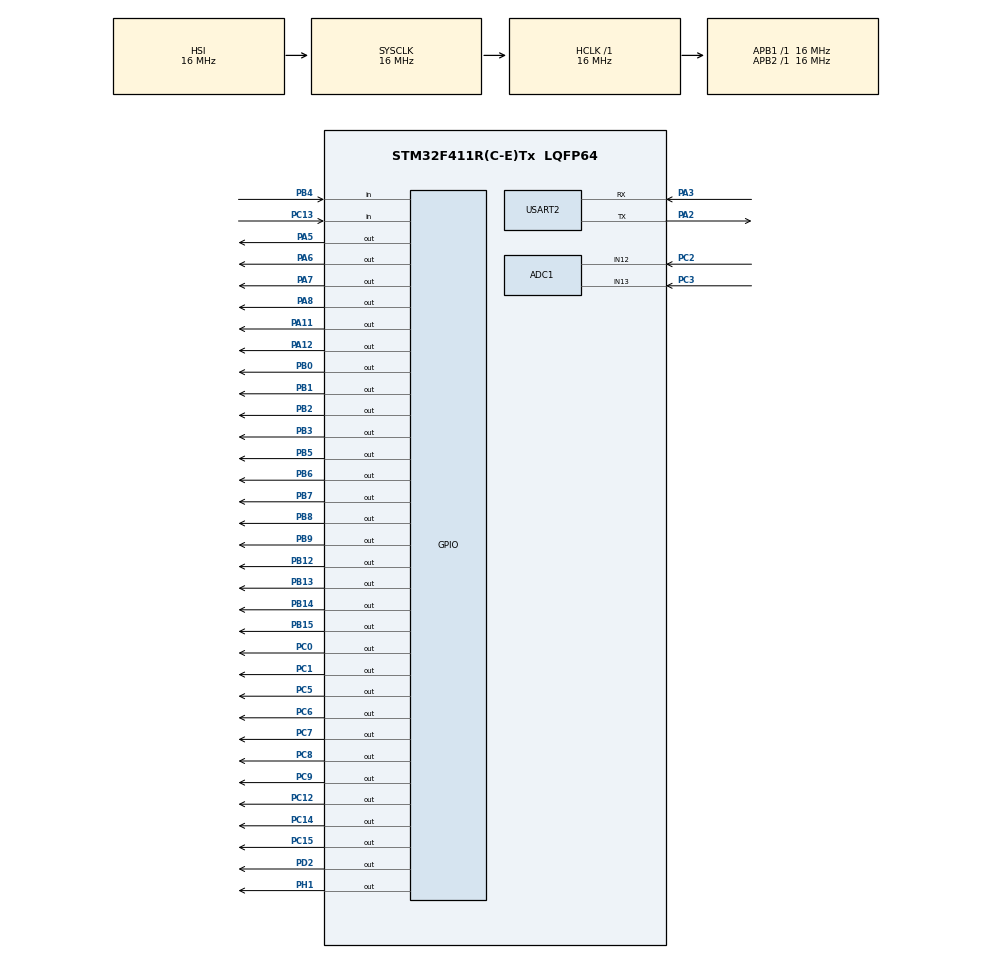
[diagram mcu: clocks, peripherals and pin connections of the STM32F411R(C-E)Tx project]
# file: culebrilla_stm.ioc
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ADC1.Channel-3\#ChannelRegularConversion=ADC_CHANNEL_12
ADC1.Channel-4\#ChannelRegularConversion=ADC_CHANNEL_13
ADC1.ContinuousConvMode=ENABLE
ADC1.NbrOfConversion=2
ADC1.NbrOfConversionFlag=1
ADC1.Rank-3\#ChannelRegularConversion=1
ADC1.Rank-4\#ChannelRegularConversion=2
ADC1.SamplingTime-3\#ChannelRegularConversion=ADC_SAMPLETIME_480CYCLES
ADC1.SamplingTime-4\#ChannelRegularConversion=ADC_SAMPLETIME_480CYCLES
ADC1.ScanConvMode=ENABLE
ADC1.master=1
FREERTOS.Mutexes01=dir,Dynamic,NULL
FREERTOS.Queues01=cola_juego,1,valores_t,0,Dynamic,NULL,NULL
FREERTOS.Tasks01=pulsador,40,128,start_pulsador,Default,NULL,Dynamic,NULL,NULL;juego,24,512,start_juego,Default,NULL,Dynamic,NULL,NULL;uart,42,256,start_uart,Default,NULL,Dynamic,NULL,NULL;uart_rec,46,256,start_uart_rec,Default,NULL,Dynamic,NULL,NULL;display,39,256,start_display,Default,NULL,Dynamic,NULL,NULL;board,32,256,start_board,Default,NULL,Dynamic,NULL,NULL
Mcu.Family=STM32F4
Mcu.Name=STM32F411R(C-E)Tx
Mcu.Package=LQFP64
NVIC.ADC_IRQn=true\:5\:0\:false\:false\:true\:true\:true\:true\:true
NVIC.PriorityGroup=NVIC_PRIORITYGROUP_4
NVIC.USART2_IRQn=true\:5\:0\:false\:false\:true\:true\:true\:true\:true
PA11.Signal=GPIO_Output
PA12.Signal=GPIO_Output
PA2.Mode=Asynchronous
PA2.Signal=USART2_TX
PA3.Mode=Asynchronous
PA3.Signal=USART2_RX
PA5.Signal=GPIO_Output
PA6.Signal=GPIO_Output
PA7.Signal=GPIO_Output
PA8.Signal=GPIO_Output
PB0.Signal=GPIO_Output
PB1.Signal=GPIO_Output
PB12.Signal=GPIO_Output
PB13.Signal=GPIO_Output
PB14.Signal=GPIO_Output
PB15.Signal=GPIO_Output
PB2.Signal=GPIO_Output
PB3.Signal=GPIO_Output
PB4.Signal=GPIO_Input
PB5.Signal=GPIO_Output
PB6.Signal=GPIO_Output
PB7.Signal=GPIO_Output
PB8.Signal=GPIO_Output
PB9.Signal=GPIO_Output
PC0.Signal=GPIO_Output
PC1.Signal=GPIO_Output
PC12.Signal=GPIO_Output
PC13-ANTI_TAMP.Signal=GPIO_Input
PC14-OSC32_IN.Signal=GPIO_Output
PC15-OSC32_OUT.Signal=GPIO_Output
PC2.Signal=ADCx_IN12
PC3.Signal=ADCx_IN13
PC5.Signal=GPIO_Output
PC6.Signal=GPIO_Output
PC7.Signal=GPIO_Output
PC8.Signal=GPIO_Output
PC9.Signal=GPIO_Output
PD2.Signal=GPIO_Output
PH1\ -\ OSC_OUT.Signal=GPIO_Output
ProjectManager.HeapSize=0x200
ProjectManager.StackSize=0x400
ProjectManager.TargetToolchain=STM32CubeIDE
RCC.AHBFreq_Value=16000000
RCC.APB1Freq_Value=16000000
RCC.APB2Freq_Value=16000000
RCC.CortexFreq_Value=16000000
RCC.HSE_VALUE=25000000
RCC.HSI_VALUE=16000000
RCC.LSE_VALUE=32768
RCC.SYSCLKFreq_VALUE=16000000
RCC.VCOOutputFreq_Value=192000000
SH.ADCx_IN12.0=ADC1_IN12,IN12
SH.ADCx_IN13.0=ADC1_IN13,IN13
USART2.VirtualMode=VM_ASYNC
VP_FREERTOS_VS_CMSIS_V2.Mode=CMSIS_V2
board=custom

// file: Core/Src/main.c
/* USER CODE BEGIN Header */
/**
 ******************************************************************************
 * @file           : main.c
 * @brief          : Main program body
 ******************************************************************************
 * @attention
 *
 * Copyright (c) 2023 STMicroelectronics.
 * All rights reserved.
 *
 * This software is licensed under terms that can be found in the LICENSE file
 * in the root directory of this software component.
 * If no LICENSE file comes with this software, it is provided AS-IS.
 *
 ******************************************************************************
 */
/* USER CODE END Header */
#include "main.h"
#include "cmsis_os.h"

/* USER CODE BEGIN Includes */
#include "../Inc/culebrilla.h"
#include <stdlib.h>
#include <stdio.h>
/* USER CODE END Includes */

ADC_HandleTypeDef hadc1;

UART_HandleTypeDef huart2;

/* Definitions for pulsador */
osThreadId_t pulsadorHandle;
const osThreadAttr_t pulsador_attributes = {
  .name = "pulsador",
  .stack_size = 128 * 4,
  .priority = (osPriority_t) osPriorityHigh,
};
/* Definitions for juego */
osThreadId_t juegoHandle;
const osThreadAttr_t juego_attributes = {
  .name = "juego",
  .stack_size = 512 * 4,
  .priority = (osPriority_t) osPriorityNormal,
};
/* Definitions for uart */
osThreadId_t uartHandle;
const osThreadAttr_t uart_attributes = {
  .name = "uart",
  .stack_size = 256 * 4,
  .priority = (osPriority_t) osPriorityHigh2,
};
/* Definitions for uart_rec */
osThreadId_t uart_recHandle;
const osThreadAttr_t uart_rec_attributes = {
  .name = "uart_rec",
  .stack_size = 256 * 4,
  .priority = (osPriority_t) osPriorityHigh6,
};
/* Definitions for display */
osThreadId_t displayHandle;
const osThreadAttr_t display_attributes = {
  .name = "display",
  .stack_size = 256 * 4,
  .priority = (osPriority_t) osPriorityAboveNormal7,
};
/* Definitions for board */
osThreadId_t boardHandle;
const osThreadAttr_t board_attributes = {
  .name = "board",
  .stack_size = 256 * 4,
  .priority = (osPriority_t) osPriorityAboveNormal,
};
/* Definitions for cola_juego */
osMessageQueueId_t cola_juegoHandle;
const osMessageQueueAttr_t cola_juego_attributes = {
  .name = "cola_juego"
};
/* Definitions for dir */
osMutexId_t dirHandle;
const osMutexAttr_t dir_attributes = {
  .name = "dir"
};
/* USER CODE BEGIN PV */
uint8_t state = 0; //El estado en el que se encuentra el  siendo 0= Inicio,1= En marcha,2= Pause,3= Finalizado,
uint8_t mode = 0;
typedef struct valores {
	uint32_t eje[2]; //Eje X=0 Y=1 Podriamos cambiarle el tamaño
	uint32_t joy[2];
	uint32_t puntos;
} valores_t;
//char buff[2];
uint8_t buff[2];
int dir;
/* USER CODE END PV */

void SystemClock_Config(void);
static void MX_GPIO_Init(void);
static void MX_USART2_UART_Init(void);
static void MX_ADC1_Init(void);
void start_pulsador(void *argument);
void start_juego(void *argument);
void start_uart(void *argument);
void start_uart_rec(void *argument);
void start_display(void *argument);
void start_board(void *argument);

int main(void)
{

  /* MCU Configuration--------------------------------------------------------*/

  /* Reset of all peripherals, Initializes the Flash interface and the Systick. */
  HAL_Init();

  /* Configure the system clock */
  SystemClock_Config();

  /* Initialize all configured peripherals */
  MX_GPIO_Init();
  MX_USART2_UART_Init();
  MX_ADC1_Init();

  /* Init scheduler */
  osKernelInitialize();
  /* Create the mutex(es) */
  /* creation of dir */
  dirHandle = osMutexNew(&dir_attributes);

  /* Create the queue(s) */
  /* creation of cola_juego */
  cola_juegoHandle = osMessageQueueNew (1, sizeof(valores_t), &cola_juego_attributes);

  /* Create the thread(s) */
  /* creation of pulsador */
  pulsadorHandle = osThreadNew(start_pulsador, NULL, &pulsador_attributes);

  /* creation of juego */
  juegoHandle = osThreadNew(start_juego, NULL, &juego_attributes);

  /* creation of uart */
  uartHandle = osThreadNew(start_uart, NULL, &uart_attributes);

  /* creation of uart_rec */
  uart_recHandle = osThreadNew(start_uart_rec, NULL, &uart_rec_attributes);

  /* creation of display */
  displayHandle = osThreadNew(start_display, NULL, &display_attributes);

  /* creation of board */
  boardHandle = osThreadNew(start_board, NULL, &board_attributes);

  /* Start scheduler */
  osKernelStart();

  /* We should never get here as control is now taken by the scheduler */
  /* Infinite loop */
	while (1) {

	}
}

void SystemClock_Config(void)
{
  RCC_OscInitTypeDef RCC_OscInitStruct = {0};
  RCC_ClkInitTypeDef RCC_ClkInitStruct = {0};

  /** Configure the main internal regulator output voltage
  */
  __HAL_RCC_PWR_CLK_ENABLE();
  __HAL_PWR_VOLTAGESCALING_CONFIG(PWR_REGULATOR_VOLTAGE_SCALE1);

  /** Initializes the RCC Oscillators according to the specified parameters
  * in the RCC_OscInitTypeDef structure.
  */
  RCC_OscInitStruct.OscillatorType = RCC_OSCILLATORTYPE_HSI;
  RCC_OscInitStruct.HSIState = RCC_HSI_ON;
  RCC_OscInitStruct.HSICalibrationValue = RCC_HSICALIBRATION_DEFAULT;
  RCC_OscInitStruct.PLL.PLLState = RCC_PLL_NONE;
  if (HAL_RCC_OscConfig(&RCC_OscInitStruct) != HAL_OK)
  {
    Error_Handler();
  }

  /** Initializes the CPU, AHB and APB buses clocks
  */
  RCC_ClkInitStruct.ClockType = RCC_CLOCKTYPE_HCLK|RCC_CLOCKTYPE_SYSCLK
                              |RCC_CLOCKTYPE_PCLK1|RCC_CLOCKTYPE_PCLK2;
  RCC_ClkInitStruct.SYSCLKSource = RCC_SYSCLKSOURCE_HSI;
  RCC_ClkInitStruct.AHBCLKDivider = RCC_SYSCLK_DIV1;
  RCC_ClkInitStruct.APB1CLKDivider = RCC_HCLK_DIV1;
  RCC_ClkInitStruct.APB2CLKDivider = RCC_HCLK_DIV1;

  if (HAL_RCC_ClockConfig(&RCC_ClkInitStruct, FLASH_LATENCY_0) != HAL_OK)
  {
    Error_Handler();
  }
}

static void MX_ADC1_Init(void)
{

  ADC_ChannelConfTypeDef sConfig = {0};

  /** Configure the global features of the ADC (Clock, Resolution, Data Alignment and number of conversion)
  */
  hadc1.Instance = ADC1;
  hadc1.Init.ClockPrescaler = ADC_CLOCK_SYNC_PCLK_DIV2;
  hadc1.Init.Resolution = ADC_RESOLUTION_12B;
  hadc1.Init.ScanConvMode = ENABLE;
  hadc1.Init.ContinuousConvMode = ENABLE;
  hadc1.Init.DiscontinuousConvMode = DISABLE;
  hadc1.Init.ExternalTrigConvEdge = ADC_EXTERNALTRIGCONVEDGE_NONE;
  hadc1.Init.ExternalTrigConv = ADC_SOFTWARE_START;
  hadc1.Init.DataAlign = ADC_DATAALIGN_RIGHT;
  hadc1.Init.NbrOfConversion = 2;
  hadc1.Init.DMAContinuousRequests = DISABLE;
  hadc1.Init.EOCSelection = ADC_EOC_SINGLE_CONV;
  if (HAL_ADC_Init(&hadc1) != HAL_OK)
  {
    Error_Handler();
  }

  /** Configure for the selected ADC regular channel its corresponding rank in the sequencer and its sample time.
  */
  sConfig.Channel = ADC_CHANNEL_12;
  sConfig.Rank = 1;
  sConfig.SamplingTime = ADC_SAMPLETIME_480CYCLES;
  if (HAL_ADC_ConfigChannel(&hadc1, &sConfig) != HAL_OK)
  {
    Error_Handler();
  }

  /** Configure for the selected ADC regular channel its corresponding rank in the sequencer and its sample time.
  */
  sConfig.Channel = ADC_CHANNEL_13;
  sConfig.Rank = 2;
  if (HAL_ADC_ConfigChannel(&hadc1, &sConfig) != HAL_OK)
  {
    Error_Handler();
  }

}

static void MX_USART2_UART_Init(void)
{

  huart2.Instance = USART2;
  huart2.Init.BaudRate = 115200;
  huart2.Init.WordLength = UART_WORDLENGTH_8B;
  huart2.Init.StopBits = UART_STOPBITS_1;
  huart2.Init.Parity = UART_PARITY_NONE;
  huart2.Init.Mode = UART_MODE_TX_RX;
  huart2.Init.HwFlowCtl = UART_HWCONTROL_NONE;
  huart2.Init.OverSampling = UART_OVERSAMPLING_16;
  if (HAL_UART_Init(&huart2) != HAL_OK)
  {
    Error_Handler();
  }

}

static void MX_GPIO_Init(void)
{
  GPIO_InitTypeDef GPIO_InitStruct = {0};

  /* GPIO Ports Clock Enable */
  __HAL_RCC_GPIOC_CLK_ENABLE();
  __HAL_RCC_GPIOH_CLK_ENABLE();
  __HAL_RCC_GPIOA_CLK_ENABLE();
  __HAL_RCC_GPIOB_CLK_ENABLE();
  __HAL_RCC_GPIOD_CLK_ENABLE();

  /*Configure GPIO pin Output Level */
  HAL_GPIO_WritePin(GPIOC, GPIO_PIN_14|GPIO_PIN_15|GPIO_PIN_0|GPIO_PIN_1
                          |GPIO_PIN_5|GPIO_PIN_6|GPIO_PIN_7|GPIO_PIN_8
                          |GPIO_PIN_9|GPIO_PIN_12, GPIO_PIN_RESET);

  /*Configure GPIO pin Output Level */
  HAL_GPIO_WritePin(GPIOH, GPIO_PIN_1, GPIO_PIN_RESET);

  /*Configure GPIO pin Output Level */
  HAL_GPIO_WritePin(GPIOA, GPIO_PIN_5|GPIO_PIN_6|GPIO_PIN_7|GPIO_PIN_8
                          |GPIO_PIN_11|GPIO_PIN_12, GPIO_PIN_RESET);

  /*Configure GPIO pin Output Level */
  HAL_GPIO_WritePin(GPIOB, GPIO_PIN_0|GPIO_PIN_1|GPIO_PIN_2|GPIO_PIN_12
                          |GPIO_PIN_13|GPIO_PIN_14|GPIO_PIN_15|GPIO_PIN_3
                          |GPIO_PIN_5|GPIO_PIN_6|GPIO_PIN_7|GPIO_PIN_8
                          |GPIO_PIN_9, GPIO_PIN_RESET);

  /*Configure GPIO pin Output Level */
  HAL_GPIO_WritePin(GPIOD, GPIO_PIN_2, GPIO_PIN_RESET);

  /*Configure GPIO pin : PC13 */
  GPIO_InitStruct.Pin = GPIO_PIN_13;
  GPIO_InitStruct.Mode = GPIO_MODE_INPUT;
  GPIO_InitStruct.Pull = GPIO_NOPULL;
  HAL_GPIO_Init(GPIOC, &GPIO_InitStruct);

  /*Configure GPIO pins : PC14 PC15 PC0 PC1
                           PC5 PC6 PC7 PC8
                           PC9 PC12 */
  GPIO_InitStruct.Pin = GPIO_PIN_14|GPIO_PIN_15|GPIO_PIN_0|GPIO_PIN_1
                          |GPIO_PIN_5|GPIO_PIN_6|GPIO_PIN_7|GPIO_PIN_8
                          |GPIO_PIN_9|GPIO_PIN_12;
  GPIO_InitStruct.Mode = GPIO_MODE_OUTPUT_PP;
  GPIO_InitStruct.Pull = GPIO_NOPULL;
  GPIO_InitStruct.Speed = GPIO_SPEED_FREQ_LOW;
  HAL_GPIO_Init(GPIOC, &GPIO_InitStruct);

  /*Configure GPIO pin : PH1 */
  GPIO_InitStruct.Pin = GPIO_PIN_1;
  GPIO_InitStruct.Mode = GPIO_MODE_OUTPUT_PP;
  GPIO_InitStruct.Pull = GPIO_NOPULL;
  GPIO_InitStruct.Speed = GPIO_SPEED_FREQ_LOW;
  HAL_GPIO_Init(GPIOH, &GPIO_InitStruct);

  /*Configure GPIO pins : PA5 PA6 PA7 PA8
                           PA11 PA12 */
  GPIO_InitStruct.Pin = GPIO_PIN_5|GPIO_PIN_6|GPIO_PIN_7|GPIO_PIN_8
                          |GPIO_PIN_11|GPIO_PIN_12;
  GPIO_InitStruct.Mode = GPIO_MODE_OUTPUT_PP;
  GPIO_InitStruct.Pull = GPIO_NOPULL;
  GPIO_InitStruct.Speed = GPIO_SPEED_FREQ_LOW;
  HAL_GPIO_Init(GPIOA, &GPIO_InitStruct);

  /*Configure GPIO pins : PB0 PB1 PB2 PB12
                           PB13 PB14 PB15 PB3
                           PB5 PB6 PB7 PB8
                           PB9 */
  GPIO_InitStruct.Pin = GPIO_PIN_0|GPIO_PIN_1|GPIO_PIN_2|GPIO_PIN_12
                          |GPIO_PIN_13|GPIO_PIN_14|GPIO_PIN_15|GPIO_PIN_3
                          |GPIO_PIN_5|GPIO_PIN_6|GPIO_PIN_7|GPIO_PIN_8
                          |GPIO_PIN_9;
  GPIO_InitStruct.Mode = GPIO_MODE_OUTPUT_PP;
  GPIO_InitStruct.Pull = GPIO_NOPULL;
  GPIO_InitStruct.Speed = GPIO_SPEED_FREQ_LOW;
  HAL_GPIO_Init(GPIOB, &GPIO_InitStruct);

  /*Configure GPIO pin : PD2 */
  GPIO_InitStruct.Pin = GPIO_PIN_2;
  GPIO_InitStruct.Mode = GPIO_MODE_OUTPUT_PP;
  GPIO_InitStruct.Pull = GPIO_NOPULL;
  GPIO_InitStruct.Speed = GPIO_SPEED_FREQ_LOW;
  HAL_GPIO_Init(GPIOD, &GPIO_InitStruct);

  /*Configure GPIO pin : PB4 */
  GPIO_InitStruct.Pin = GPIO_PIN_4;
  GPIO_InitStruct.Mode = GPIO_MODE_INPUT;
  GPIO_InitStruct.Pull = GPIO_NOPULL;
  HAL_GPIO_Init(GPIOB, &GPIO_InitStruct);

}

/* USER CODE BEGIN 4 */
void HAL_UART_RxCpltCallback(UART_HandleTypeDef *huart) {
	HAL_UART_Receive_IT(huart, buff, sizeof(buff));
	if (mode == TECLAS) {
		switch (buff[0]) {
		case 'r':
			osMutexAcquire(dirHandle, 10000);
			change_direction(&dir, R);
			osMutexRelease(dirHandle);

			break;
		case 'd':
			osMutexAcquire(dirHandle, 10000);
			change_direction(&dir, D);
			osMutexRelease(dirHandle);
			break;
		case 'l':
			osMutexAcquire(dirHandle, 10000);
			change_direction(&dir, L);
			osMutexRelease(dirHandle);
			break;
		case 'u':
			osMutexAcquire(dirHandle, 10000);
			change_direction(&dir, U);
			osMutexRelease(dirHandle);
			break;
		}
	}
}

uint8_t leer_pulsador(int pul) {

		return HAL_GPIO_ReadPin(GPIOC, GPIO_PIN_13);

}
/* USER CODE END 4 */

void start_pulsador(void *argument)
{
  /* USER CODE BEGIN 5 */
	/* Infinite loop */
	for (;;) {

		if (leer_pulsador(0) == 0) {
			switch (state) {
			case START:
				state = PLAY;
				break;
			case PLAY:
				state = PAUSA;
				break;
			case PAUSA:
				state = PLAY;
				break;
			}
		}

		osDelay(10);
	}
  /* USER CODE END 5 */
}

void start_juego(void *argument)
{
  /* USER CODE BEGIN start_juego */
	/* Infinite loop */

	valores_t datos_juego;
	//valores_t datos_joy;
	//osStatus_t status;

	coord_t s_pos;

	snake_t snake;
	food_t food;

	for (;;) {

		// para empezar en una direccion
		osMutexAcquire(dirHandle, 10000);
		dir = R;
		osMutexRelease(dirHandle);

		srand(0);

		startup_board();						//Pone la matriz apagada
		snake = spawn_snake();			//aparece el cuerpo de la serpiente

		food.pos = snake.body[0]; // para evitar un bug de spawn_food

		spawn_food(&food, &snake); //Aparecer comida en la matriz aleatoriamente

		while (state != PLAY) {
			osDelay(10);
		}

		while (snake.die == 0) { //Hasta que la serpiente muera estaremos en el while

			//TODO: pensar mas elegante
			s_pos = snake.body[snake.length - 1]; //Se coje la posicion inicial de la serpiente
			leds_off(s_pos.x, s_pos.y); //Se apaga la posicion de la posicion en la que estaba el cuerpo de la serpiente
			move_snake(&snake, dir); // Se mueve el cuerpo eliminado anteriormente a la siguiente posicion en la direccion establecida

			eat(&snake, &food); //Mas o menos entendido, sirve para vigilar si ha comido la fruta

			if (food.eaten == 1) {
				spawn_food(&food, &snake);
			}

			update_board(&snake, &food); //Para mostrar el cuerpo y comida dela serpiente en la matiz
			//sleep(1);
			datos_juego.eje[0] = snake.body[0].x;
			datos_juego.eje[1] = snake.body[0].y;
			datos_juego.joy[0] = 0;
			datos_juego.joy[1] = 0;
			datos_juego.puntos = snake.length;
			osMessageQueuePut(cola_juegoHandle, &datos_juego, 0U, 0U);

			while (state == PAUSA) {
				osDelay(10);
			}

			osDelay(SPEED);
		}
		state = PAUSA;
		osDelay(100);
	}

	//}
  /* USER CODE END start_juego */
}

void start_uart(void *argument)
{
  /* USER CODE BEGIN start_uart */
	/* Infinite loop */
	valores_t datos;
	osStatus_t status;
	uint8_t msg[] = "400,8,5,1";
	uint32_t x, y, puntos;
	int m;
	for (;;) {
		status = osMessageQueueGet(cola_juegoHandle, &datos, 0U, 0U);
		if (status == osOK) {
			x = datos.eje[0];
			y = datos.eje[1];
			puntos = datos.puntos;
			m = mode;
		}
			sprintf(msg, "%lu,%lu,%lu,%d", puntos - 1, x,
					y, m);
			HAL_UART_Transmit_IT(&huart2, msg, sizeof(msg));
		osDelay(20);
	}
  /* USER CODE END start_uart */
}

void start_uart_rec(void *argument)
{
  /* USER CODE BEGIN start_uart_rec */
	/* Infinite loop */
	for (;;) {
		HAL_UART_Receive_IT(&huart2, buff, sizeof(buff));
		osDelay(1);
	}
  /* USER CODE END start_uart_rec */
}

void start_display(void *argument)
{
  /* USER CODE BEGIN start_display */
	/* Infinite loop */
	int score;
	osStatus_t status;
	valores_t datos;
	for (;;) {
		status = osMessageQueueGet(cola_juegoHandle, &datos, 0U, 0U);
		if (status == osOK)
			score = datos.puntos - 1;
		print_score(state, score);
		osDelay(1);
	}
  /* USER CODE END start_display */
}

void start_board(void *argument)
{
  /* USER CODE BEGIN start_board */
  /* Infinite loop */
  for(;;)
  {
		print_board();
    osDelay(1);
  }
  /* USER CODE END start_board */
}

void Error_Handler(void)
{
	__disable_irq();
	while (1) {
	}
}
